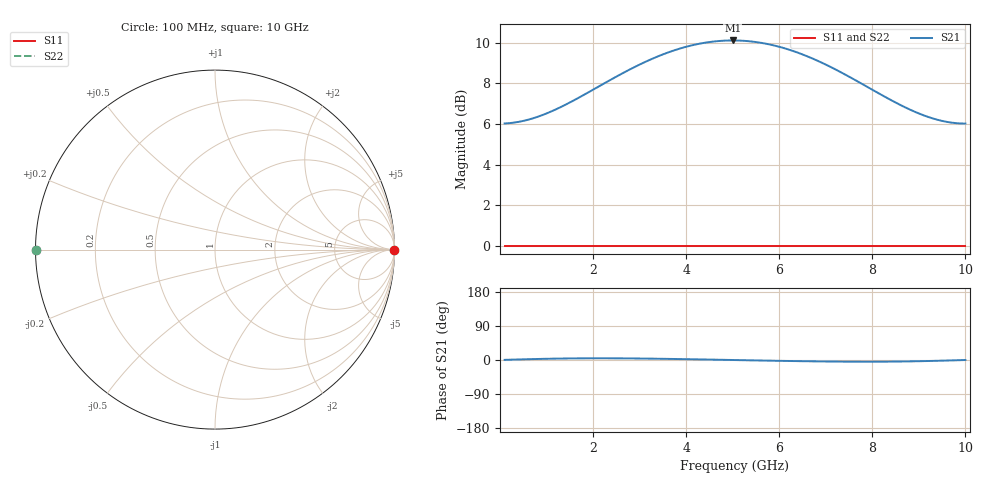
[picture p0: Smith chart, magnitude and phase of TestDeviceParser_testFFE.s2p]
! File created by SignalIntegrity v1.1.14: Signal and Power Integrity Tools
! https://github.com/TeledyneLeCroy/SignalIntegrity
# MHz S MA R 50.0
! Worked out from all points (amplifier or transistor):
!   100 points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, 100 MHz to 10 GHz, reference 50 ohm
!   highest |S21| = 10.1 dB at 5 GHz (marker M1)
!   |S21| within 3 dB of that: 1.539 GHz to 8.461 GHz (6.922 GHz wide, 138 % of centre)
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100  1 0.0  2.001 0.4  0 0.0  1 180.0
500  1 0.0  2.03 1.7  0 0.0  1 180.0
900  1 0.0  2.096 2.9  0 0.0  1 180.0
1300  1 0.0  2.194 3.8  0 0.0  1 180.0
1800  1 0.0  2.352 4.4  0 0.0  1 180.0
2600  1 0.0  2.645 4.3  0 0.0  1 180.0
3400  1 0.0  2.926 3.3  0 0.0  1 180.0
3800  1 0.0  3.04 2.6  0 0.0  1 180.0
4200  1 0.0  3.127 1.8  0 0.0  1 180.0
4600  1 0.0  3.182 0.9  0 0.0  1 180.0
5000  1 0.0  3.2 0.0  0 0.0  1 180.0
5100  1 0.0  3.199 -0.2  0 0.0  1 180.0
5500  1 0.0  3.171 -1.1  0 0.0  1 180.0
5900  1 0.0  3.108 -2.0  0 0.0  1 180.0
6300  1 0.0  3.014 -2.8  0 0.0  1 180.0
6700  1 0.0  2.894 -3.5  0 0.0  1 180.0
7500  1 0.0  2.608 -4.4  0 0.0  1 180.0
8400  1 0.0  2.285 -4.2  0 0.0  1 180.0
8800  1 0.0  2.167 -3.6  0 0.0  1 180.0
9200  1 0.0  2.076 -2.7  0 0.0  1 180.0
9600  1 0.0  2.019 -1.4  0 0.0  1 180.0
10000  1 0.0  2 -0.0  0 0.0  1 180.0
